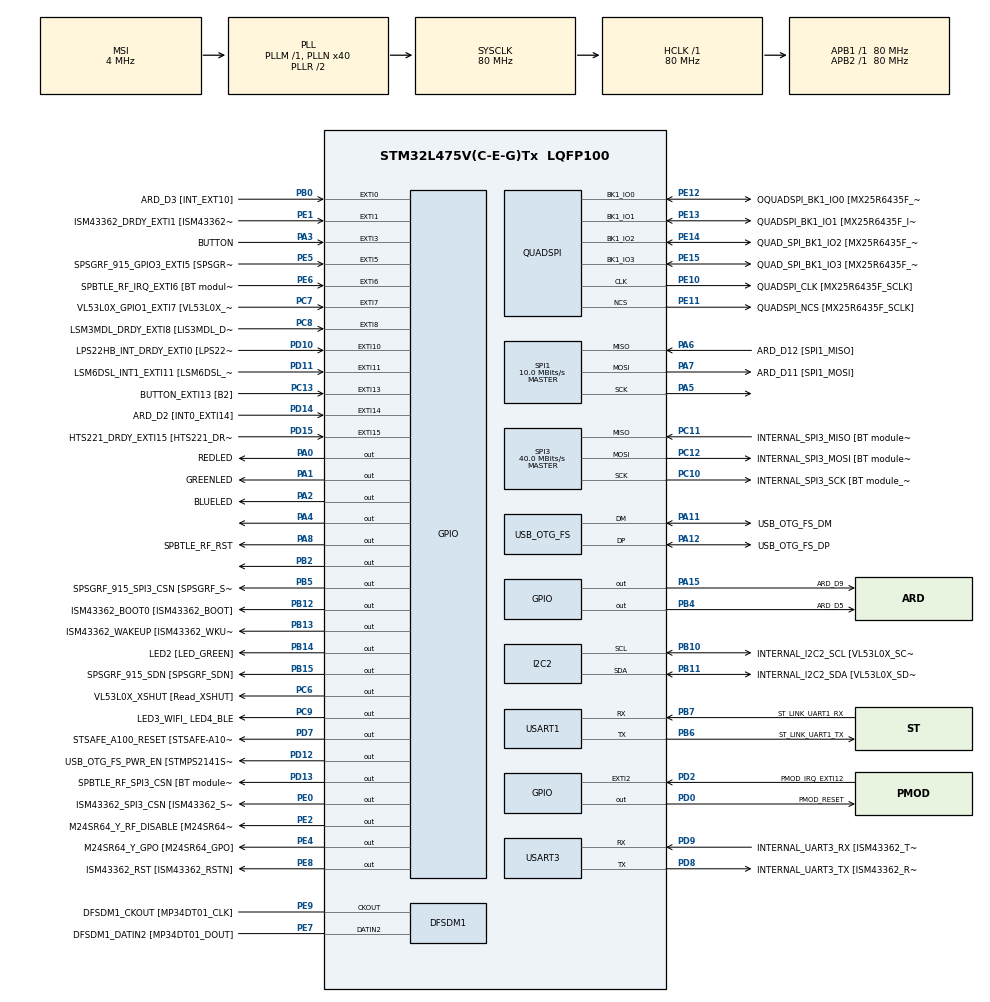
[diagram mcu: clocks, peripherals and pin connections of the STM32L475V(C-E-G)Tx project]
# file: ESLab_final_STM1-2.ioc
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Mcu.Family=STM32L4
Mcu.Name=STM32L475V(C-E-G)Tx
Mcu.Package=LQFP100
NVIC.EXTI15_10_IRQn=true\:0\:0\:false\:false\:true\:true\:true\:true
NVIC.EXTI3_IRQn=true\:0\:0\:false\:false\:true\:true\:true\:true
NVIC.EXTI9_5_IRQn=true\:0\:0\:false\:false\:true\:true\:true\:true
NVIC.PriorityGroup=NVIC_PRIORITYGROUP_4
PA0.GPIO_Label=REDLED
PA0.Signal=GPIO_Output
PA1.GPIO_Label=GREENLED
PA1.Signal=GPIO_Output
PA10.GPIO_Label=USB_OTG_FS_ID
PA10.Signal=USB_OTG_FS_ID
PA11.GPIO_Label=USB_OTG_FS_DM
PA11.Mode=Device_Only
PA11.Signal=USB_OTG_FS_DM
PA12.GPIO_Label=USB_OTG_FS_DP
PA12.Mode=Device_Only
PA12.Signal=USB_OTG_FS_DP
PA13\ (JTMS-SWDIO).GPIO_Label=SYS_JTMS_SWDIO
PA13\ (JTMS-SWDIO).Mode=Serial_Wire
PA13\ (JTMS-SWDIO).Signal=SYS_JTMS-SWDIO
PA14\ (JTCK-SWCLK).GPIO_Label=SYS_JTCK_SWCLK
PA14\ (JTCK-SWCLK).Mode=Serial_Wire
PA14\ (JTCK-SWCLK).Signal=SYS_JTCK-SWCLK
PA15\ (JTDI).GPIO_Label=ARD_D9
PA15\ (JTDI).Signal=GPIO_Output
PA2.GPIO_Label=BLUELED
PA2.Signal=GPIO_Output
PA3.GPIO_Label=BUTTON
PA3.GPIO_ModeDefaultEXTI=GPIO_MODE_IT_RISING_FALLING
PA3.GPIO_PuPd=GPIO_PULLUP
PA3.Signal=GPXTI3
PA4.Signal=GPIO_Output
PA5.Mode=Full_Duplex_Master
PA5.Signal=SPI1_SCK
PA6.GPIO_Label=ARD_D12 [SPI1_MISO]
PA6.Mode=Full_Duplex_Master
PA6.Signal=SPI1_MISO
PA7.GPIO_Label=ARD_D11 [SPI1_MOSI]
PA7.Mode=Full_Duplex_Master
PA7.Signal=SPI1_MOSI
PA8.GPIO_Label=SPBTLE_RF_RST
PA8.Signal=GPIO_Output
PA9.GPIO_Label=USB_OTG_FS_VBUS [STMPS2141STR_OUT]
PA9.Signal=USB_OTG_FS_VBUS
PB0.GPIO_Label=ARD_D3 [INT_EXT10]
PB0.Signal=GPXTI0
PB1.GPIO_Label=ARD_D6 [ADC1_IN6]
PB1.Signal=ADCx_IN16
PB10.GPIO_Label=INTERNAL_I2C2_SCL [VL53L0X_SCL]
PB10.GPIO_Pu=GPIO_PULLUP
PB10.Mode=I2C
PB10.Signal=I2C2_SCL
PB11.GPIO_Label=INTERNAL_I2C2_SDA [VL53L0X_SDA]
PB11.GPIO_Pu=GPIO_PULLUP
PB11.Mode=I2C
PB11.Signal=I2C2_SDA
PB12.GPIO_Label=ISM43362_BOOT0 [ISM43362_BOOT]
PB12.Signal=GPIO_Output
PB13.GPIO_Label=ISM43362_WAKEUP [ISM43362_WKUP]
PB13.Signal=GPIO_Output
PB14.GPIO_Label=LED2 [LED_GREEN]
PB14.Signal=GPIO_Output
PB15.GPIO_Label=SPSGRF_915_SDN [SPSGRF_SDN]
PB15.Signal=GPIO_Output
PB2.Signal=GPIO_Output
PB3\ (JTDO-TRACESWO).GPIO_Label=SYS_JTD0_SWO
PB3\ (JTDO-TRACESWO).Signal=SYS_JTDO-SWO
PB4\ (NJTRST).GPIO_Label=ARD_D5
PB4\ (NJTRST).Signal=GPIO_Output
PB5.GPIO_Label=SPSGRF_915_SPI3_CSN [SPSGRF_SPI_CS]
PB5.PinState=GPIO_PIN_SET
PB5.Signal=GPIO_Output
PB6.GPIO_Label=ST_LINK_UART1_TX
PB6.Mode=Asynchronous
PB6.Signal=USART1_TX
PB7.GPIO_Label=ST_LINK_UART1_RX
PB7.Mode=Asynchronous
PB7.Signal=USART1_RX
PB8.GPIO_Label=ARD_D15 [I2C1_SCL]
PB8.Signal=I2C1_SCL
PB9.GPIO_Label=ARD_D14 [I2C1_SDA]
PB9.Signal=I2C1_SDA
PC0.GPIO_Label=ARD_A5 [ADC]
PC0.Signal=ADCx_IN1
PC1.GPIO_Label=ARD_A4 [ADC]
PC1.Signal=ADCx_IN2
PC10.GPIO_Label=INTERNAL_SPI3_SCK [BT module_SPI_SCLK] [ISM43362_SCK]
PC10.Mode=Full_Duplex_Master
PC10.Signal=SPI3_SCK
PC11.GPIO_Label=INTERNAL_SPI3_MISO [BT module_SPI_MISO] [ISM43362_MISO]
PC11.Mode=Full_Duplex_Master
PC11.Signal=SPI3_MISO
PC12.GPIO_Label=INTERNAL_SPI3_MOSI [BT module_SPI_MOSI] [ISM43362_MOSI]
PC12.Mode=Full_Duplex_Master
PC12.Signal=SPI3_MOSI
PC13.GPIO_Label=BUTTON_EXTI13 [B2]
PC13.GPIO_ModeDefaultEXTI=GPIO_MODE_IT_FALLING
PC13.Signal=GPXTI13
PC14-OSC32_IN\ (PC14).Mode=LSE-External-Oscillator
PC14-OSC32_IN\ (PC14).Signal=RCC_OSC32_IN
PC15-OSC32_OUT\ (PC15).Mode=LSE-External-Oscillator
PC15-OSC32_OUT\ (PC15).Signal=RCC_OSC32_OUT
PC2.GPIO_Label=ARD_A3 [ADC]
PC2.Signal=ADCx_IN3
PC3.GPIO_Label=ARD_A2 [ADC]
PC3.Signal=ADCx_IN4
PC4.GPIO_Label=ARD_A1 [ADC]
PC4.Signal=ADCx_IN13
PC5.GPIO_Label=ARD_A0 [ADC]
PC5.Signal=ADCx_IN14
PC6.GPIO_Label=VL53L0X_XSHUT [Read_XSHUT]
PC6.Signal=GPIO_Output
PC7.GPIO_Label=VL53L0X_GPIO1_EXTI7 [VL53L0X_GPIO1]
PC7.Signal=GPXTI7
PC8.GPIO_Label=LSM3MDL_DRDY_EXTI8 [LIS3MDL_DRDY]
PC8.Signal=GPXTI8
PC9.GPIO_Label=LED3_WIFI_ LED4_BLE
PC9.Signal=GPIO_Output
PD0.GPIO_Label=PMOD_RESET
PD0.Signal=GPIO_Output
PD1.GPIO_Label=PMOD_SPI2_SCK
PD1.Signal=SPI2_SCK
PD10.GPIO_Label=LPS22HB_INT_DRDY_EXTI0 [LPS22HB_INT_DRDY] 
PD10.Signal=GPXTI10
PD11.GPIO_Label=LSM6DSL_INT1_EXTI11 [LSM6DSL_INT1]
PD11.Signal=GPXTI11
PD12.GPIO_Label=USB_OTG_FS_PWR_EN [STMPS2141STR_EN]
PD12.Signal=GPIO_Output
PD13.GPIO_Label=SPBTLE_RF_SPI3_CSN [BT module_SPI_CS]
PD13.PinState=GPIO_PIN_SET
PD13.Signal=GPIO_Output
PD14.GPIO_Label=ARD_D2 [INT0_EXTI14]
PD14.Signal=GPXTI14
PD15.GPIO_Label=HTS221_DRDY_EXTI15 [HTS221_DRDY]
PD15.Signal=GPXTI15
PD2.GPIO_Label=PMOD_IRQ_EXTI12
PD2.Signal=GPXTI2
PD3.GPIO_Label=PMOD_UART2_CTS
PD3.Signal=USART2_CTS
PD4.GPIO_Label=PMOD_UART2_RTS
PD4.Signal=USART2_RTS
PD5.GPIO_Label=PMOD_UART2_TX
PD5.Signal=USART2_TX
PD6.GPIO_Label=PMOD_UART2_RX
PD6.Signal=USART2_RX
PD7.GPIO_Label=STSAFE_A100_RESET [STSAFE-A100_RESET]
PD7.Signal=GPIO_Output
PD8.GPIO_Label=INTERNAL_UART3_TX [ISM43362_RX]
PD8.Mode=Asynchronous
PD8.Signal=USART3_TX
PD9.GPIO_Label=INTERNAL_UART3_RX [ISM43362_TX]
PD9.Mode=Asynchronous
PD9.Signal=USART3_RX
PE0.GPIO_Label=ISM43362_SPI3_CSN [ISM43362_SSN]
PE0.PinState=GPIO_PIN_SET
PE0.Signal=GPIO_Output
PE1.GPIO_Label=ISM43362_DRDY_EXTI1 [ISM43362_DATARDY]
PE1.Signal=GPXTI1
PE10.GPIO_Label=QUADSPI_CLK [MX25R6435F_SCLK]
PE10.Mode=Single Bank
PE10.Signal=QUADSPI_CLK
PE11.GPIO_Label=QUADSPI_NCS [MX25R6435F_SCLK]
PE11.Mode=Single Bank
PE11.Signal=QUADSPI_NCS
PE12.GPIO_Label=OQUADSPI_BK1_IO0 [MX25R6435F_IO0]
PE12.Mode=Single Bank
PE12.Signal=QUADSPI_BK1_IO0
PE13.GPIO_Label=QUADSPI_BK1_IO1 [MX25R6435F_IO1]
PE13.Mode=Single Bank
PE13.Signal=QUADSPI_BK1_IO1
PE14.GPIO_Label=QUAD_SPI_BK1_IO2 [MX25R6435F_IO2]
PE14.Mode=Single Bank
PE14.Signal=QUADSPI_BK1_IO2
PE15.GPIO_Label=QUAD_SPI_BK1_IO3 [MX25R6435F_IO3]
PE15.Mode=Single Bank
PE15.Signal=QUADSPI_BK1_IO3
PE2.GPIO_Label=M24SR64_Y_RF_DISABLE [M24SR64_RFDIS]
PE2.Signal=GPIO_Output
PE4.GPIO_Label=M24SR64_Y_GPO [M24SR64_GPO]
PE4.Signal=GPIO_Output
PE5.GPIO_Label=SPSGRF_915_GPIO3_EXTI5 [SPSGRF_GPIO_3]
PE5.Signal=GPXTI5
PE6.GPIO_Label=SPBTLE_RF_IRQ_EXTI6 [BT module_SPI_IRQ]
PE6.Signal=GPXTI6
PE7.GPIO_Label=DFSDM1_DATIN2 [MP34DT01_DOUT]
PE7.Signal=S_DATAIN2DFSDM1
PE8.GPIO_Label=ISM43362_RST [ISM43362_RSTN]
PE8.Signal=GPIO_Output
PE9.GPIO_Label=DFSDM1_CKOUT [MP34DT01_CLK]
PE9.Signal=S_CKOUTDFSDM1
PH0-OSC_IN\ (PH0).Mode=HSE-External-Oscillator
PH0-OSC_IN\ (PH0).Signal=RCC_OSC_IN
PH1-OSC_OUT\ (PH1).Mode=HSE-External-Oscillator
PH1-OSC_OUT\ (PH1).Signal=RCC_OSC_OUT
ProjectManager.HeapSize=0x200
ProjectManager.StackSize=0x400
ProjectManager.TargetToolchain=STM32CubeIDE
QUADSPI.ClockPrescaler=2
QUADSPI.FifoThreshold=4
QUADSPI.FlashSize=23
QUADSPI.SampleShifting=QSPI_SAMPLE_SHIFTING_HALFCYCLE
RCC.ADCFreq_Value=48000000
RCC.AHBFreq_Value=80000000
RCC.APB1Freq_Value=80000000
RCC.APB1TimFreq_Value=80000000
RCC.APB2Freq_Value=80000000
RCC.APB2TimFreq_Value=80000000
RCC.CortexFreq_Value=80000000
RCC.HCLKFreq_Value=80000000
RCC.HSE_VALUE=8000000
RCC.HSI_VALUE=16000000
RCC.MSI_VALUE=4000000
RCC.PLLN=40
RCC.PLLSAI1N=24
RCC.SYSCLKFreq_VALUE=80000000
RCC.SYSCLKSource=RCC_SYSCLKSOURCE_PLLCLK
RCC.USBFreq_Value=48000000
RCC.VCOOutputFreq_Value=160000000
SH.ADCx_IN1.0=ADC1_IN1
SH.ADCx_IN13.0=ADC1_IN13
SH.ADCx_IN14.0=ADC1_IN14
SH.ADCx_IN16.0=ADC1_IN16
SH.ADCx_IN2.0=ADC1_IN2
SH.ADCx_IN3.0=ADC1_IN3
SH.ADCx_IN4.0=ADC1_IN4
SH.S_CKOUTDFSDM1.0=DFSDM1_CKOUT,CKOUT
SH.S_CKOUTDFSDM1.1=DFSDM1_CKOUT,PDM_SPI_Input_from_ch12_and_Internal_Clock
SH.S_DATAIN2DFSDM1.0=DFSDM1_DATIN2,PDM_SPI_Input_from_ch12_and_Internal_Clock
SPI1.BaudRatePrescaler=SPI_BAUDRATEPRESCALER_8
SPI1.CalculateBaudRate=10.0 MBits/s
SPI1.DataSize=SPI_DATASIZE_8BIT
SPI1.Direction=SPI_DIRECTION_2LINES
SPI1.Mode=SPI_MODE_MASTER
SPI1.VirtualType=VM_MASTER
SPI3.CalculateBaudRate=40.0 MBits/s
SPI3.Direction=SPI_DIRECTION_2LINES
SPI3.Mode=SPI_MODE_MASTER
SPI3.VirtualType=VM_MASTER
USART1.VirtualMode-Asynchronous=VM_ASYNC
USART3.VirtualMode-Asynchronous=VM_ASYNC
USB_OTG_FS.VirtualMode=Device_Only
board=B-L475E-IOT01A2

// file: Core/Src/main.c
/* USER CODE BEGIN Header */
/**
  ******************************************************************************
  * @file           : main.c
  * @brief          : Main program body
  ******************************************************************************
  * @attention
  *
  * Copyright (c) 2025 STMicroelectronics.
  * All rights reserved.
  *
  * This software is licensed under terms that can be found in the LICENSE file
  * in the root directory of this software component.
  * If no LICENSE file comes with this software, it is provided AS-IS.
  *
  ******************************************************************************
  */
/* USER CODE END Header */
#include "main.h"

/* USER CODE BEGIN PD */
#define TERMINAL_USE

/* Update SSID and PASSWORD with own Access point settings */
#define SSID     "ShuCheniPhone"
#define PASSWORD "11111111"

uint8_t RemoteIP[] = {172,20,10,2};//{192,168,50,58};//{192,168,50,57};//{172,27,187,63};//{192,168,3,110};
#define RemotePORT	8002

#define WIFI_WRITE_TIMEOUT 10000
#define WIFI_READ_TIMEOUT  10000

#define CONNECTION_TRIAL_MAX          10

#if defined (TERMINAL_USE)
#define TERMOUT(...)  printf(__VA_ARGS__)
#else
#define TERMOUT(...)
#endif
#define TIME_TO_A 5
#define TIME_TO_C 15
/* USER CODE END PD */

DFSDM_Channel_HandleTypeDef hdfsdm1_channel1;

I2C_HandleTypeDef hi2c2;

QSPI_HandleTypeDef hqspi;

SPI_HandleTypeDef hspi1;
SPI_HandleTypeDef hspi3;

UART_HandleTypeDef huart1;
UART_HandleTypeDef huart3;

PCD_HandleTypeDef hpcd_USB_OTG_FS;

/* USER CODE BEGIN PV */
extern  SPI_HandleTypeDef hspi; //this variable is declared in the es_wifi_io you need to called in main file.
static uint8_t RxData [500];
volatile uint8_t flag;
char TxData[100];

int32_t Socket ;
uint16_t Datalen;
int32_t ret;
uint8_t status;
uint8_t str[MAX_LEN]; // Max_LEN = 16
uint8_t sNum[5];
uint8_t prevsNum[5];
char *msg1 = "Reading From Card\r\n";
char *msg2 = "Reading From Tag\r\n";
char *msg3 = "Place card to read\r\n";
/* USER CODE END PV */

void SystemClock_Config(void);
static void MX_GPIO_Init(void);
static void MX_DFSDM1_Init(void);
static void MX_I2C2_Init(void);
static void MX_QUADSPI_Init(void);
static void MX_SPI3_Init(void);
static void MX_USART1_UART_Init(void);
static void MX_USART3_UART_Init(void);
static void MX_USB_OTG_FS_PCD_Init(void);
static void MX_SPI1_Init(void);
/* USER CODE BEGIN PFP */
void StartStoringProcess(void);
void StartDepositProcess(int number);
void extendStoring(void);
/* USER CODE END PFP */

/* USER CODE BEGIN 0 */
int __io_putchar(int ch)
{
	HAL_UART_Transmit(&huart1, (uint8_t *)&ch, 1, 0xFFFF);
	return ch;
}
/* USER CODE END 0 */

int main(void)
{

  /* USER CODE BEGIN 1 */
	uint8_t  MAC_Addr[6] = {0};
  uint8_t  IP_Addr[4] = {0};
  Socket = -1;
  int16_t Trials = CONNECTION_TRIAL_MAX;
  flag=0;
  memset(prevsNum, 0, sizeof(prevsNum));
  /* USER CODE END 1 */

  /* MCU Configuration--------------------------------------------------------*/

  /* Reset of all peripherals, Initializes the Flash interface and the Systick. */
  HAL_Init();

  /* Configure the system clock */
  SystemClock_Config();

  /* Initialize all configured peripherals */
  MX_GPIO_Init();
  MX_DFSDM1_Init();
  MX_I2C2_Init();
  MX_QUADSPI_Init();
  MX_SPI3_Init();
  MX_USART1_UART_Init();
  MX_USART3_UART_Init();
  MX_USB_OTG_FS_PCD_Init();
  MX_SPI1_Init();
  /* USER CODE BEGIN 2 */
  // Init Wifi module
  if(WIFI_Init() ==  WIFI_STATUS_OK)
    {
      printf("> WIFI Module Initialized.\n");
      if(WIFI_GetMAC_Address(MAC_Addr, sizeof(MAC_Addr)) == WIFI_STATUS_OK)
      {
        printf("> es-wifi module MAC Address : %X:%X:%X:%X:%X:%X\n",
                 MAC_Addr[0],
                 MAC_Addr[1],
                 MAC_Addr[2],
                 MAC_Addr[3],
                 MAC_Addr[4],
                 MAC_Addr[5]);
      }
      else
      {
        printf("> ERROR : CANNOT get MAC address\n");
      }

      if( WIFI_Connect(SSID, PASSWORD, WIFI_ECN_WPA2_PSK) == WIFI_STATUS_OK)
      {
        printf("> es-wifi module connected \n");
        if(WIFI_GetIP_Address(IP_Addr, sizeof(IP_Addr)) == WIFI_STATUS_OK)
        {
          printf("> es-wifi module got IP Address : %d.%d.%d.%d\n",
                 IP_Addr[0],
                 IP_Addr[1],
                 IP_Addr[2],
                 IP_Addr[3]);

          printf("> Trying to connect to Server: %d.%d.%d.%d:%d ...\n",
                 RemoteIP[0],
                 RemoteIP[1],
                 RemoteIP[2],
                 RemoteIP[3],
  							 RemotePORT);

          while (Trials--)
          {
            if( WIFI_OpenClientConnection(0, WIFI_TCP_PROTOCOL, "TCP_CLIENT", RemoteIP, RemotePORT, 0) == WIFI_STATUS_OK)
            {
              printf("> TCP Connection opened successfully.\n");
              Socket = 0;
              break;
            }
          }
          if(Socket == -1)
          {
            printf("> ERROR : Cannot open Connection\n");
          }
        }
        else
        {
          printf("> ERROR : es-wifi module CANNOT get IP address\n");
        }
      }
      else
      {
        printf("> ERROR : es-wifi module NOT connected\n");
      }
    }
    else
    {
      printf("> ERROR : WIFI Module cannot be initialized.\n");
    }
  MFRC522_Init();
    printf("rc522 init\n");
  uchar ver = Read_MFRC522(0x37);  // VersionReg
  printf("MFRC522 VersionReg = 0x%02X\n", ver);
  /* USER CODE END 2 */

  /* Infinite loop */
  /* USER CODE BEGIN WHILE */
  while (1)
  {
	  if(flag==1){
		  strcpy(TxData, "storing start\n");
		ret = WIFI_SendData(Socket, (const uint8_t *)TxData, strlen(TxData), &Datalen, WIFI_WRITE_TIMEOUT);
		HAL_GPIO_WritePin(GPIOA,GREENLED_Pin,GPIO_PIN_SET);
		HAL_GPIO_WritePin(GPIOA,REDLED_Pin,GPIO_PIN_RESET);
		if (ret != WIFI_STATUS_OK)
		{
			printf("> ERROR : Failed to Send Data, connection closed\n");
		}
		memset(prevsNum, 0, sizeof(prevsNum));
		StartStoringProcess();
	  }
	  else if(flag==3){
		  HAL_GPIO_WritePin(GPIOA,GREENLED_Pin,GPIO_PIN_RESET);
		  HAL_GPIO_WritePin(GPIOA,REDLED_Pin,GPIO_PIN_SET);
		  extendStoring();
		  strcpy(TxData, "stop storing\n");
		  ret = WIFI_SendData(Socket, (const uint8_t *)TxData, strlen(TxData), &Datalen, WIFI_WRITE_TIMEOUT);
		  HAL_GPIO_WritePin(GPIOA,REDLED_Pin,GPIO_PIN_RESET);
	  }
	  if(Socket != -1&& flag==0)
	  {
		ret = WIFI_ReceiveData(Socket, RxData, sizeof(RxData)-1, &Datalen, WIFI_READ_TIMEOUT);
		if(ret == WIFI_STATUS_OK)
		{
		  if(Datalen > 0)
		  {
			RxData[Datalen]=0;
			printf("Received: %s\n",RxData);
			int itemCount = 0;
			if (sscanf((char *)RxData, "start out: %d", &itemCount) == 1)
			{
				printf("deposit\n");
			  flag=2;
			  memset(prevsNum, 0, sizeof(prevsNum));
			  HAL_GPIO_WritePin(GPIOA,BLUELED_Pin,GPIO_PIN_SET);
			  HAL_GPIO_WritePin(GPIOA,REDLED_Pin,GPIO_PIN_RESET);
			  StartDepositProcess(itemCount);
			}
		  }
		}
		else
		{
		  printf("> ERROR : Failed to Receive Data, connection closed\n");
		  break;
		}
	  }
    /* USER CODE END WHILE */

  }
}

void SystemClock_Config(void)
{
  RCC_OscInitTypeDef RCC_OscInitStruct = {0};
  RCC_ClkInitTypeDef RCC_ClkInitStruct = {0};

  /** Configure the main internal regulator output voltage
  */
  if (HAL_PWREx_ControlVoltageScaling(PWR_REGULATOR_VOLTAGE_SCALE1) != HAL_OK)
  {
    Error_Handler();
  }

  /** Configure LSE Drive Capability
  */
  HAL_PWR_EnableBkUpAccess();
  __HAL_RCC_LSEDRIVE_CONFIG(RCC_LSEDRIVE_LOW);

  /** Initializes the RCC Oscillators according to the specified parameters
  * in the RCC_OscInitTypeDef structure.
  */
  RCC_OscInitStruct.OscillatorType = RCC_OSCILLATORTYPE_LSE|RCC_OSCILLATORTYPE_MSI;
  RCC_OscInitStruct.LSEState = RCC_LSE_ON;
  RCC_OscInitStruct.MSIState = RCC_MSI_ON;
  RCC_OscInitStruct.MSICalibrationValue = 0;
  RCC_OscInitStruct.MSIClockRange = RCC_MSIRANGE_6;
  RCC_OscInitStruct.PLL.PLLState = RCC_PLL_ON;
  RCC_OscInitStruct.PLL.PLLSource = RCC_PLLSOURCE_MSI;
  RCC_OscInitStruct.PLL.PLLM = 1;
  RCC_OscInitStruct.PLL.PLLN = 40;
  RCC_OscInitStruct.PLL.PLLP = RCC_PLLP_DIV7;
  RCC_OscInitStruct.PLL.PLLQ = RCC_PLLQ_DIV2;
  RCC_OscInitStruct.PLL.PLLR = RCC_PLLR_DIV2;
  if (HAL_RCC_OscConfig(&RCC_OscInitStruct) != HAL_OK)
  {
    Error_Handler();
  }

  /** Initializes the CPU, AHB and APB buses clocks
  */
  RCC_ClkInitStruct.ClockType = RCC_CLOCKTYPE_HCLK|RCC_CLOCKTYPE_SYSCLK
                              |RCC_CLOCKTYPE_PCLK1|RCC_CLOCKTYPE_PCLK2;
  RCC_ClkInitStruct.SYSCLKSource = RCC_SYSCLKSOURCE_PLLCLK;
  RCC_ClkInitStruct.AHBCLKDivider = RCC_SYSCLK_DIV1;
  RCC_ClkInitStruct.APB1CLKDivider = RCC_HCLK_DIV1;
  RCC_ClkInitStruct.APB2CLKDivider = RCC_HCLK_DIV1;

  if (HAL_RCC_ClockConfig(&RCC_ClkInitStruct, FLASH_LATENCY_4) != HAL_OK)
  {
    Error_Handler();
  }

  /** Enable MSI Auto calibration
  */
  HAL_RCCEx_EnableMSIPLLMode();
}

static void MX_DFSDM1_Init(void)
{

  hdfsdm1_channel1.Instance = DFSDM1_Channel1;
  hdfsdm1_channel1.Init.OutputClock.Activation = ENABLE;
  hdfsdm1_channel1.Init.OutputClock.Selection = DFSDM_CHANNEL_OUTPUT_CLOCK_SYSTEM;
  hdfsdm1_channel1.Init.OutputClock.Divider = 2;
  hdfsdm1_channel1.Init.Input.Multiplexer = DFSDM_CHANNEL_EXTERNAL_INPUTS;
  hdfsdm1_channel1.Init.Input.DataPacking = DFSDM_CHANNEL_STANDARD_MODE;
  hdfsdm1_channel1.Init.Input.Pins = DFSDM_CHANNEL_FOLLOWING_CHANNEL_PINS;
  hdfsdm1_channel1.Init.SerialInterface.Type = DFSDM_CHANNEL_SPI_RISING;
  hdfsdm1_channel1.Init.SerialInterface.SpiClock = DFSDM_CHANNEL_SPI_CLOCK_INTERNAL;
  hdfsdm1_channel1.Init.Awd.FilterOrder = DFSDM_CHANNEL_FASTSINC_ORDER;
  hdfsdm1_channel1.Init.Awd.Oversampling = 1;
  hdfsdm1_channel1.Init.Offset = 0;
  hdfsdm1_channel1.Init.RightBitShift = 0x00;
  if (HAL_DFSDM_ChannelInit(&hdfsdm1_channel1) != HAL_OK)
  {
    Error_Handler();
  }

}

static void MX_I2C2_Init(void)
{

  hi2c2.Instance = I2C2;
  hi2c2.Init.Timing = 0x00000E14;
  hi2c2.Init.OwnAddress1 = 0;
  hi2c2.Init.AddressingMode = I2C_ADDRESSINGMODE_7BIT;
  hi2c2.Init.DualAddressMode = I2C_DUALADDRESS_DISABLE;
  hi2c2.Init.OwnAddress2 = 0;
  hi2c2.Init.OwnAddress2Masks = I2C_OA2_NOMASK;
  hi2c2.Init.GeneralCallMode = I2C_GENERALCALL_DISABLE;
  hi2c2.Init.NoStretchMode = I2C_NOSTRETCH_DISABLE;
  if (HAL_I2C_Init(&hi2c2) != HAL_OK)
  {
    Error_Handler();
  }

  /** Configure Analogue filter
  */
  if (HAL_I2CEx_ConfigAnalogFilter(&hi2c2, I2C_ANALOGFILTER_ENABLE) != HAL_OK)
  {
    Error_Handler();
  }

  /** Configure Digital filter
  */
  if (HAL_I2CEx_ConfigDigitalFilter(&hi2c2, 0) != HAL_OK)
  {
    Error_Handler();
  }

}

static void MX_QUADSPI_Init(void)
{

  /* QUADSPI parameter configuration*/
  hqspi.Instance = QUADSPI;
  hqspi.Init.ClockPrescaler = 2;
  hqspi.Init.FifoThreshold = 4;
  hqspi.Init.SampleShifting = QSPI_SAMPLE_SHIFTING_HALFCYCLE;
  hqspi.Init.FlashSize = 23;
  hqspi.Init.ChipSelectHighTime = QSPI_CS_HIGH_TIME_1_CYCLE;
  hqspi.Init.ClockMode = QSPI_CLOCK_MODE_0;
  if (HAL_QSPI_Init(&hqspi) != HAL_OK)
  {
    Error_Handler();
  }

}

static void MX_SPI1_Init(void)
{

  /* SPI1 parameter configuration*/
  hspi1.Instance = SPI1;
  hspi1.Init.Mode = SPI_MODE_MASTER;
  hspi1.Init.Direction = SPI_DIRECTION_2LINES;
  hspi1.Init.DataSize = SPI_DATASIZE_8BIT;
  hspi1.Init.CLKPolarity = SPI_POLARITY_LOW;
  hspi1.Init.CLKPhase = SPI_PHASE_1EDGE;
  hspi1.Init.NSS = SPI_NSS_SOFT;
  hspi1.Init.BaudRatePrescaler = SPI_BAUDRATEPRESCALER_8;
  hspi1.Init.FirstBit = SPI_FIRSTBIT_MSB;
  hspi1.Init.TIMode = SPI_TIMODE_DISABLE;
  hspi1.Init.CRCCalculation = SPI_CRCCALCULATION_DISABLE;
  hspi1.Init.CRCPolynomial = 7;
  hspi1.Init.CRCLength = SPI_CRC_LENGTH_DATASIZE;
  hspi1.Init.NSSPMode = SPI_NSS_PULSE_ENABLE;
  if (HAL_SPI_Init(&hspi1) != HAL_OK)
  {
    Error_Handler();
  }

}

static void MX_SPI3_Init(void)
{

  /* USER CODE BEGIN SPI3_Init 0 */
//
  /* USER CODE END SPI3_Init 0 */

  /* USER CODE BEGIN SPI3_Init 1 */
//
  /* USER CODE END SPI3_Init 1 */
  /* SPI3 parameter configuration*/
  hspi3.Instance = SPI3;
  hspi3.Init.Mode = SPI_MODE_MASTER;
  hspi3.Init.Direction = SPI_DIRECTION_2LINES;
  hspi3.Init.DataSize = SPI_DATASIZE_4BIT;
  hspi3.Init.CLKPolarity = SPI_POLARITY_LOW;
  hspi3.Init.CLKPhase = SPI_PHASE_1EDGE;
  hspi3.Init.NSS = SPI_NSS_SOFT;
  hspi3.Init.BaudRatePrescaler = SPI_BAUDRATEPRESCALER_2;
  hspi3.Init.FirstBit = SPI_FIRSTBIT_MSB;
  hspi3.Init.TIMode = SPI_TIMODE_DISABLE;
  hspi3.Init.CRCCalculation = SPI_CRCCALCULATION_DISABLE;
  hspi3.Init.CRCPolynomial = 7;
  hspi3.Init.CRCLength = SPI_CRC_LENGTH_DATASIZE;
  hspi3.Init.NSSPMode = SPI_NSS_PULSE_ENABLE;
  if (HAL_SPI_Init(&hspi3) != HAL_OK)
  {
    Error_Handler();
  }
  /* USER CODE BEGIN SPI3_Init 2 */
//
  /* USER CODE END SPI3_Init 2 */

}

static void MX_USART1_UART_Init(void)
{

  huart1.Instance = USART1;
  huart1.Init.BaudRate = 115200;
  huart1.Init.WordLength = UART_WORDLENGTH_8B;
  huart1.Init.StopBits = UART_STOPBITS_1;
  huart1.Init.Parity = UART_PARITY_NONE;
  huart1.Init.Mode = UART_MODE_TX_RX;
  huart1.Init.HwFlowCtl = UART_HWCONTROL_NONE;
  huart1.Init.OverSampling = UART_OVERSAMPLING_16;
  huart1.Init.OneBitSampling = UART_ONE_BIT_SAMPLE_DISABLE;
  huart1.AdvancedInit.AdvFeatureInit = UART_ADVFEATURE_NO_INIT;
  if (HAL_UART_Init(&huart1) != HAL_OK)
  {
    Error_Handler();
  }

}

static void MX_USART3_UART_Init(void)
{

  huart3.Instance = USART3;
  huart3.Init.BaudRate = 115200;
  huart3.Init.WordLength = UART_WORDLENGTH_8B;
  huart3.Init.StopBits = UART_STOPBITS_1;
  huart3.Init.Parity = UART_PARITY_NONE;
  huart3.Init.Mode = UART_MODE_TX_RX;
  huart3.Init.HwFlowCtl = UART_HWCONTROL_NONE;
  huart3.Init.OverSampling = UART_OVERSAMPLING_16;
  huart3.Init.OneBitSampling = UART_ONE_BIT_SAMPLE_DISABLE;
  huart3.AdvancedInit.AdvFeatureInit = UART_ADVFEATURE_NO_INIT;
  if (HAL_UART_Init(&huart3) != HAL_OK)
  {
    Error_Handler();
  }

}

static void MX_USB_OTG_FS_PCD_Init(void)
{

  hpcd_USB_OTG_FS.Instance = USB_OTG_FS;
  hpcd_USB_OTG_FS.Init.dev_endpoints = 6;
  hpcd_USB_OTG_FS.Init.speed = PCD_SPEED_FULL;
  hpcd_USB_OTG_FS.Init.phy_itface = PCD_PHY_EMBEDDED;
  hpcd_USB_OTG_FS.Init.Sof_enable = DISABLE;
  hpcd_USB_OTG_FS.Init.low_power_enable = DISABLE;
  hpcd_USB_OTG_FS.Init.lpm_enable = DISABLE;
  hpcd_USB_OTG_FS.Init.battery_charging_enable = DISABLE;
  hpcd_USB_OTG_FS.Init.use_dedicated_ep1 = DISABLE;
  hpcd_USB_OTG_FS.Init.vbus_sensing_enable = DISABLE;
  if (HAL_PCD_Init(&hpcd_USB_OTG_FS) != HAL_OK)
  {
    Error_Handler();
  }

}

static void MX_GPIO_Init(void)
{
  GPIO_InitTypeDef GPIO_InitStruct = {0};

  /* GPIO Ports Clock Enable */
  __HAL_RCC_GPIOE_CLK_ENABLE();
  __HAL_RCC_GPIOC_CLK_ENABLE();
  __HAL_RCC_GPIOH_CLK_ENABLE();
  __HAL_RCC_GPIOA_CLK_ENABLE();
  __HAL_RCC_GPIOB_CLK_ENABLE();
  __HAL_RCC_GPIOD_CLK_ENABLE();

  /*Configure GPIO pin Output Level */
  HAL_GPIO_WritePin(GPIOE, M24SR64_Y_RF_DISABLE_Pin|M24SR64_Y_GPO_Pin|ISM43362_RST_Pin, GPIO_PIN_RESET);

  /*Configure GPIO pin Output Level */
  HAL_GPIO_WritePin(GPIOA, REDLED_Pin|GREENLED_Pin|BLUELED_Pin|GPIO_PIN_4
                          |SPBTLE_RF_RST_Pin|ARD_D9_Pin, GPIO_PIN_RESET);

  /*Configure GPIO pin Output Level */
  HAL_GPIO_WritePin(GPIOB, GPIO_PIN_2|ISM43362_BOOT0_Pin|ISM43362_WAKEUP_Pin|LED2_Pin
                          |SPSGRF_915_SDN_Pin|ARD_D5_Pin, GPIO_PIN_RESET);

  /*Configure GPIO pin Output Level */
  HAL_GPIO_WritePin(GPIOD, USB_OTG_FS_PWR_EN_Pin|PMOD_RESET_Pin|STSAFE_A100_RESET_Pin, GPIO_PIN_RESET);

  /*Configure GPIO pin Output Level */
  HAL_GPIO_WritePin(SPBTLE_RF_SPI3_CSN_GPIO_Port, SPBTLE_RF_SPI3_CSN_Pin, GPIO_PIN_SET);

  /*Configure GPIO pin Output Level */
  HAL_GPIO_WritePin(GPIOC, VL53L0X_XSHUT_Pin|LED3_WIFI__LED4_BLE_Pin, GPIO_PIN_RESET);

  /*Configure GPIO pin Output Level */
  HAL_GPIO_WritePin(SPSGRF_915_SPI3_CSN_GPIO_Port, SPSGRF_915_SPI3_CSN_Pin, GPIO_PIN_SET);

  /*Configure GPIO pin Output Level */
  HAL_GPIO_WritePin(ISM43362_SPI3_CSN_GPIO_Port, ISM43362_SPI3_CSN_Pin, GPIO_PIN_SET);

  /*Configure GPIO pins : M24SR64_Y_RF_DISABLE_Pin M24SR64_Y_GPO_Pin ISM43362_RST_Pin ISM43362_SPI3_CSN_Pin */
  GPIO_InitStruct.Pin = M24SR64_Y_RF_DISABLE_Pin|M24SR64_Y_GPO_Pin|ISM43362_RST_Pin|ISM43362_SPI3_CSN_Pin;
  GPIO_InitStruct.Mode = GPIO_MODE_OUTPUT_PP;
  GPIO_InitStruct.Pull = GPIO_NOPULL;
  GPIO_InitStruct.Speed = GPIO_SPEED_FREQ_LOW;
  HAL_GPIO_Init(GPIOE, &GPIO_InitStruct);

  /*Configure GPIO pins : SPSGRF_915_GPIO3_EXTI5_Pin SPBTLE_RF_IRQ_EXTI6_Pin ISM43362_DRDY_EXTI1_Pin */
  GPIO_InitStruct.Pin = SPSGRF_915_GPIO3_EXTI5_Pin|SPBTLE_RF_IRQ_EXTI6_Pin|ISM43362_DRDY_EXTI1_Pin;
  GPIO_InitStruct.Mode = GPIO_MODE_IT_RISING;
  GPIO_InitStruct.Pull = GPIO_NOPULL;
  HAL_GPIO_Init(GPIOE, &GPIO_InitStruct);

  /*Configure GPIO pin : BUTTON_EXTI13_Pin */
  GPIO_InitStruct.Pin = BUTTON_EXTI13_Pin;
  GPIO_InitStruct.Mode = GPIO_MODE_IT_FALLING;
  GPIO_InitStruct.Pull = GPIO_NOPULL;
  HAL_GPIO_Init(BUTTON_EXTI13_GPIO_Port, &GPIO_InitStruct);

  /*Configure GPIO pins : ARD_A5_Pin ARD_A4_Pin ARD_A3_Pin ARD_A2_Pin
                           ARD_A1_Pin ARD_A0_Pin */
  GPIO_InitStruct.Pin = ARD_A5_Pin|ARD_A4_Pin|ARD_A3_Pin|ARD_A2_Pin
                          |ARD_A1_Pin|ARD_A0_Pin;
  GPIO_InitStruct.Mode = GPIO_MODE_ANALOG_ADC_CONTROL;
  GPIO_InitStruct.Pull = GPIO_NOPULL;
  HAL_GPIO_Init(GPIOC, &GPIO_InitStruct);

  /*Configure GPIO pins : REDLED_Pin GREENLED_Pin BLUELED_Pin PA4
                           SPBTLE_RF_RST_Pin ARD_D9_Pin */
  GPIO_InitStruct.Pin = REDLED_Pin|GREENLED_Pin|BLUELED_Pin|GPIO_PIN_4
                          |SPBTLE_RF_RST_Pin|ARD_D9_Pin;
  GPIO_InitStruct.Mode = GPIO_MODE_OUTPUT_PP;
  GPIO_InitStruct.Pull = GPIO_NOPULL;
  GPIO_InitStruct.Speed = GPIO_SPEED_FREQ_LOW;
  HAL_GPIO_Init(GPIOA, &GPIO_InitStruct);

  /*Configure GPIO pin : BUTTON_Pin */
  GPIO_InitStruct.Pin = BUTTON_Pin;
  GPIO_InitStruct.Mode = GPIO_MODE_IT_RISING_FALLING;
  GPIO_InitStruct.Pull = GPIO_PULLUP;
  HAL_GPIO_Init(BUTTON_GPIO_Port, &GPIO_InitStruct);

  /*Configure GPIO pin : ARD_D3_Pin */
  GPIO_InitStruct.Pin = ARD_D3_Pin;
  GPIO_InitStruct.Mode = GPIO_MODE_IT_RISING;
  GPIO_InitStruct.Pull = GPIO_NOPULL;
  HAL_GPIO_Init(ARD_D3_GPIO_Port, &GPIO_InitStruct);

  /*Configure GPIO pin : ARD_D6_Pin */
  GPIO_InitStruct.Pin = ARD_D6_Pin;
  GPIO_InitStruct.Mode = GPIO_MODE_ANALOG_ADC_CONTROL;
  GPIO_InitStruct.Pull = GPIO_NOPULL;
  HAL_GPIO_Init(ARD_D6_GPIO_Port, &GPIO_InitStruct);

  /*Configure GPIO pins : PB2 ISM43362_BOOT0_Pin ISM43362_WAKEUP_Pin LED2_Pin
                           SPSGRF_915_SDN_Pin ARD_D5_Pin SPSGRF_915_SPI3_CSN_Pin */
  GPIO_InitStruct.Pin = GPIO_PIN_2|ISM43362_BOOT0_Pin|ISM43362_WAKEUP_Pin|LED2_Pin
                          |SPSGRF_915_SDN_Pin|ARD_D5_Pin|SPSGRF_915_SPI3_CSN_Pin;
  GPIO_InitStruct.Mode = GPIO_MODE_OUTPUT_PP;
  GPIO_InitStruct.Pull = GPIO_NOPULL;
  GPIO_InitStruct.Speed = GPIO_SPEED_FREQ_LOW;
  HAL_GPIO_Init(GPIOB, &GPIO_InitStruct);

  /*Configure GPIO pins : LPS22HB_INT_DRDY_EXTI0_Pin LSM6DSL_INT1_EXTI11_Pin ARD_D2_Pin HTS221_DRDY_EXTI15_Pin
                           PMOD_IRQ_EXTI12_Pin */
  GPIO_InitStruct.Pin = LPS22HB_INT_DRDY_EXTI0_Pin|LSM6DSL_INT1_EXTI11_Pin|ARD_D2_Pin|HTS221_DRDY_EXTI15_Pin
                          |PMOD_IRQ_EXTI12_Pin;
  GPIO_InitStruct.Mode = GPIO_MODE_IT_RISING;
  GPIO_InitStruct.Pull = GPIO_NOPULL;
  HAL_GPIO_Init(GPIOD, &GPIO_InitStruct);

  /*Configure GPIO pins : USB_OTG_FS_PWR_EN_Pin SPBTLE_RF_SPI3_CSN_Pin PMOD_RESET_Pin STSAFE_A100_RESET_Pin */
  GPIO_InitStruct.Pin = USB_OTG_FS_PWR_EN_Pin|SPBTLE_RF_SPI3_CSN_Pin|PMOD_RESET_Pin|STSAFE_A100_RESET_Pin;
  GPIO_InitStruct.Mode = GPIO_MODE_OUTPUT_PP;
  GPIO_InitStruct.Pull = GPIO_NOPULL;
  GPIO_InitStruct.Speed = GPIO_SPEED_FREQ_LOW;
  HAL_GPIO_Init(GPIOD, &GPIO_InitStruct);

  /*Configure GPIO pins : VL53L0X_XSHUT_Pin LED3_WIFI__LED4_BLE_Pin */
  GPIO_InitStruct.Pin = VL53L0X_XSHUT_Pin|LED3_WIFI__LED4_BLE_Pin;
  GPIO_InitStruct.Mode = GPIO_MODE_OUTPUT_PP;
  GPIO_InitStruct.Pull = GPIO_NOPULL;
  GPIO_InitStruct.Speed = GPIO_SPEED_FREQ_LOW;
  HAL_GPIO_Init(GPIOC, &GPIO_InitStruct);

  /*Configure GPIO pins : VL53L0X_GPIO1_EXTI7_Pin LSM3MDL_DRDY_EXTI8_Pin */
  GPIO_InitStruct.Pin = VL53L0X_GPIO1_EXTI7_Pin|LSM3MDL_DRDY_EXTI8_Pin;
  GPIO_InitStruct.Mode = GPIO_MODE_IT_RISING;
  GPIO_InitStruct.Pull = GPIO_NOPULL;
  HAL_GPIO_Init(GPIOC, &GPIO_InitStruct);

  /*Configure GPIO pin : PMOD_SPI2_SCK_Pin */
  GPIO_InitStruct.Pin = PMOD_SPI2_SCK_Pin;
  GPIO_InitStruct.Mode = GPIO_MODE_AF_PP;
  GPIO_InitStruct.Pull = GPIO_NOPULL;
  GPIO_InitStruct.Speed = GPIO_SPEED_FREQ_VERY_HIGH;
  GPIO_InitStruct.Alternate = GPIO_AF5_SPI2;
  HAL_GPIO_Init(PMOD_SPI2_SCK_GPIO_Port, &GPIO_InitStruct);

  /*Configure GPIO pins : PMOD_UART2_CTS_Pin PMOD_UART2_RTS_Pin PMOD_UART2_TX_Pin PMOD_UART2_RX_Pin */
  GPIO_InitStruct.Pin = PMOD_UART2_CTS_Pin|PMOD_UART2_RTS_Pin|PMOD_UART2_TX_Pin|PMOD_UART2_RX_Pin;
  GPIO_InitStruct.Mode = GPIO_MODE_AF_PP;
  GPIO_InitStruct.Pull = GPIO_NOPULL;
  GPIO_InitStruct.Speed = GPIO_SPEED_FREQ_VERY_HIGH;
  GPIO_InitStruct.Alternate = GPIO_AF7_USART2;
  HAL_GPIO_Init(GPIOD, &GPIO_InitStruct);

  /*Configure GPIO pins : ARD_D15_Pin ARD_D14_Pin */
  GPIO_InitStruct.Pin = ARD_D15_Pin|ARD_D14_Pin;
  GPIO_InitStruct.Mode = GPIO_MODE_AF_OD;
  GPIO_InitStruct.Pull = GPIO_NOPULL;
  GPIO_InitStruct.Speed = GPIO_SPEED_FREQ_VERY_HIGH;
  GPIO_InitStruct.Alternate = GPIO_AF4_I2C1;
  HAL_GPIO_Init(GPIOB, &GPIO_InitStruct);

  /* EXTI interrupt init*/
  HAL_NVIC_SetPriority(EXTI3_IRQn, 0, 0);
  HAL_NVIC_EnableIRQ(EXTI3_IRQn);

  HAL_NVIC_SetPriority(EXTI9_5_IRQn, 0, 0);
  HAL_NVIC_EnableIRQ(EXTI9_5_IRQn);

  HAL_NVIC_SetPriority(EXTI15_10_IRQn, 0, 0);
  HAL_NVIC_EnableIRQ(EXTI15_10_IRQn);

}

/* USER CODE BEGIN 4 */
void HAL_GPIO_EXTI_Callback(uint16_t GPIO_Pin)
{
  switch (GPIO_Pin)
  {
	case (GPIO_PIN_1):
	{
		SPI_WIFI_ISR();
		break;
	}
	case (BUTTON_Pin):
	{

		if (HAL_GPIO_ReadPin(GPIOA, BUTTON_Pin) == GPIO_PIN_RESET)  // Falling edge (pressed)
		{
			flag=1;
			printf("interrupt\n");
		}
		else if(flag==1) // Rising edge (released)
		{
			flag=3;
			printf("stopping\n");
		}
		break;
	}
    default:
    {
      break;
    }
  }
}
void SPI3_IRQHandler(void)
{
  HAL_SPI_IRQHandler(&hspi);
}
void StartStoringProcess(void){
	uint32_t startTime=HAL_GetTick();
	while(flag==1){
		status = MFRC522_Request(PICC_REQIDL, str);
		if(HAL_GetTick()-startTime>=5000){
			HAL_GPIO_WritePin(GPIOA,REDLED_Pin,GPIO_PIN_RESET);
			HAL_GPIO_WritePin(GPIOA,GREENLED_Pin,GPIO_PIN_SET);
		}
		if (status == MI_OK)
		{
			printf("Card detected\n");
			HAL_GPIO_WritePin(GPIOA,REDLED_Pin,GPIO_PIN_SET);
			HAL_GPIO_WritePin(GPIOA,GREENLED_Pin,GPIO_PIN_RESET);
			startTime=HAL_GetTick();
			status = MFRC522_Anticoll(str);
			if (status == MI_OK)
			{
				memcpy(sNum, str, 5);
				if (memcmp(prevsNum, sNum, 5) != 0) {

				    // 是新卡片，處理資料
					printf("Card UID: %02X %02X %02X %02X %02X\n",
						   sNum[0], sNum[1], sNum[2], sNum[3], sNum[4]);
					sprintf(TxData, "storing: %02X %02X %02X %02X %02X\n",
							sNum[0], sNum[1], sNum[2], sNum[3], sNum[4]);
					ret = WIFI_SendData(Socket, (const uint8_t *)TxData, strlen(TxData), &Datalen, WIFI_WRITE_TIMEOUT);
				    memcpy(prevsNum, sNum, 5);
				}
			}
		}
		HAL_Delay(100);
	}
}
void extendStoring(void){
	uint32_t startTime=HAL_GetTick();
	while(HAL_GetTick()-startTime<10*1000){
		status = MFRC522_Request(PICC_REQIDL, str);
		printf("status:%d\n",status);
		if (status == MI_OK)
		{
			printf("Card detected\n");

			status = MFRC522_Anticoll(str);
			if (status == MI_OK)
			{
				memcpy(sNum, str, 5);
				if (memcmp(prevsNum, sNum, 5) != 0) {
					// 是新卡片，處理資料
					printf("Card UID: %02X %02X %02X %02X %02X\n",
						   sNum[0], sNum[1], sNum[2], sNum[3], sNum[4]);
					sprintf(TxData, "storing: %02X %02X %02X %02X %02X\n",
							sNum[0], sNum[1], sNum[2], sNum[3], sNum[4]);
					ret = WIFI_SendData(Socket, (const uint8_t *)TxData, strlen(TxData), &Datalen, WIFI_WRITE_TIMEOUT);
					memcpy(prevsNum, sNum, 5);
				}
			}
		}
		HAL_Delay(100);
	}
	flag=0;
}
void StartDepositProcess(int number){
	int count=0;
	while(count<number){
		status = MFRC522_Request(PICC_REQIDL, str);
		if (status == MI_OK)
		{
			printf("Card detected\n");

			status = MFRC522_Anticoll(str);
			if (status == MI_OK)
			{
				memcpy(sNum, str, 5);
				if (memcmp(prevsNum, sNum, 5) != 0) {

					//		        lastScanTime=HAL_GetTick();
					printf("Card UID: %02X %02X %02X %02X %02X\n",
						   sNum[0], sNum[1], sNum[2], sNum[3], sNum[4]);
					sprintf(TxData, "out: %02X %02X %02X %02X %02X\n",
							sNum[0], sNum[1], sNum[2], sNum[3], sNum[4]);
					ret = WIFI_SendData(Socket, (const uint8_t *)TxData, strlen(TxData), &Datalen, WIFI_WRITE_TIMEOUT);
					count++;
					memcpy(prevsNum, sNum, 5);
				}
			}
		}
		HAL_Delay(100);
	}
	flag=0;
	printf("end\n");
	strcpy(TxData, "stop out\n");
	ret = WIFI_SendData(Socket, (const uint8_t *)TxData, strlen(TxData), &Datalen, WIFI_WRITE_TIMEOUT);
	HAL_GPIO_WritePin(GPIOA,BLUELED_Pin,GPIO_PIN_RESET);
	HAL_GPIO_WritePin(GPIOA,REDLED_Pin,GPIO_PIN_SET);
	HAL_Delay(1000);
	HAL_GPIO_WritePin(GPIOA,REDLED_Pin,GPIO_PIN_RESET);
}
/* USER CODE END 4 */

void Error_Handler(void)
{
  __disable_irq();
  while (1)
  {
  }
}
